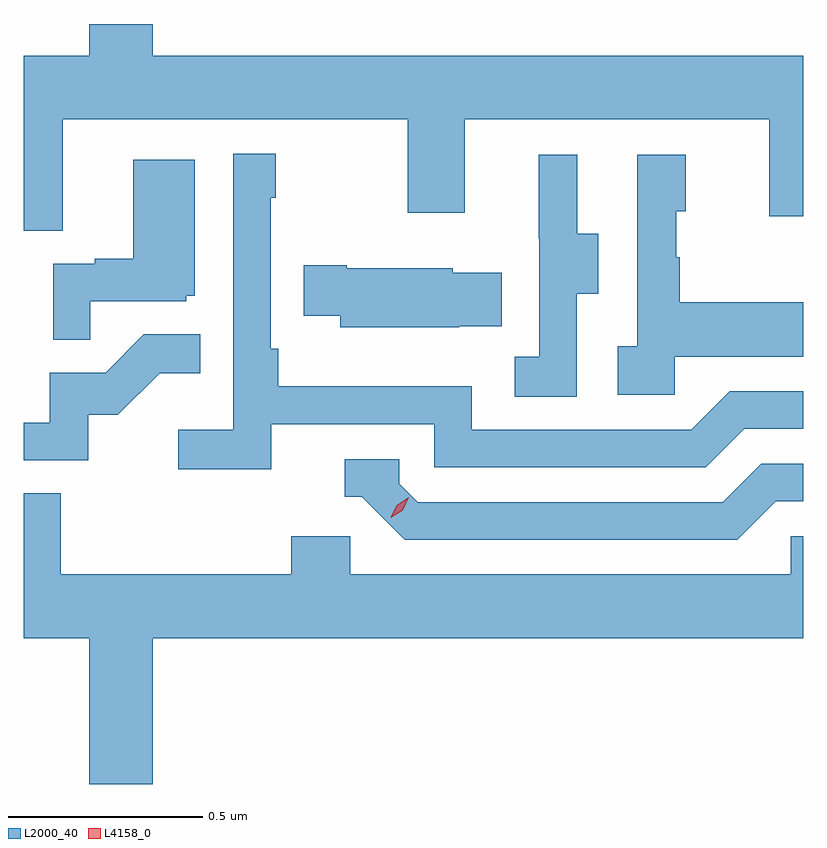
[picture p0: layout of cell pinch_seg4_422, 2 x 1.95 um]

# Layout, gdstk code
import gdstk
lib = gdstk.Library(unit=1e-6, precision=1e-09)
def P(c, l, *ps):  # polygons
    for p in ps: c.add(gdstk.Polygon(p, *l))
L2000_40 = (2000, 40)
L4158_0 = (4158, 0)

pinch_seg4_422 = lib.new_cell('pinch_seg4_422')
P(pinch_seg4_422, L2000_40, [(992.113,771.512),(992.998,771.512),(992.998,771.273),(993.145,771.273),(993.145,771.512),(993.926,771.512),(993.926,771.264),(994.013,771.264),(994.013,771.676),(992.344,771.676),(992.344,771.757),(992.18,771.757),(992.18,771.676),(992.013,771.676),(992.013,771.226),(992.113,771.226)],
  [(992.648,770.73),(993.066,770.73),(993.066,770.619),(993.763,770.619),(993.862,770.718),(994.013,770.718),(994.013,770.814),(993.825,770.814),(993.726,770.715),(993.162,770.715),(993.162,770.827),(992.666,770.827),(992.666,770.923),(992.646,770.923),(992.646,771.311),(992.659,771.311),(992.659,771.424),(992.55,771.424),(992.55,770.716),(992.409,770.716),(992.409,770.614),(992.648,770.614)],
  [(993.432,771.064),(993.487,771.064),(993.487,771.219),(993.433,771.219),(993.433,771.421),(993.335,771.421),(993.335,771.207),(993.336,771.207),(993.336,770.903),(993.273,770.903),(993.273,770.8),(993.432,770.8)],
  [(993.684,770.903),(994.013,770.903),(994.013,771.043),(993.697,771.043),(993.697,771.158),(993.687,771.158),(993.687,771.276),(993.712,771.276),(993.712,771.421),(993.588,771.421),(993.588,770.93),(993.537,770.93),(993.537,770.805),(993.684,770.805)],
  [(992.183,771.045),(992.43,771.045),(992.43,771.06),(992.452,771.06),(992.452,771.409),(992.294,771.409),(992.294,771.154),(992.195,771.154),(992.195,771.141),(992.088,771.141),(992.088,770.947),(992.183,770.947)],
  [(993.131,770.981),(993.239,770.981),(993.239,771.118),(993.114,771.118),(993.114,771.13),(992.842,771.13),(992.842,771.138),(992.731,771.138),(992.731,771.008),(992.825,771.008),(992.825,770.978),(993.131,770.978)],
  [(992.178,770.754),(992.254,770.754),(992.361,770.861),(992.465,770.861),(992.465,770.96),(992.321,770.96),(992.223,770.862),(992.079,770.862),(992.079,770.733),(992.013,770.733),(992.013,770.637),(992.178,770.637)],
  [(993.943,770.532),(994.013,770.532),(994.013,770.628),(993.906,770.628),(993.807,770.529),(993.024,770.529),(992.976,770.577),(992.976,770.64),(992.837,770.64),(992.837,770.544),(992.88,770.544),(992.991,770.433),(993.844,770.433)],
  [(992.344,770.18),(994.013,770.18),(994.013,770.442),(993.981,770.442),(993.981,770.344),(992.85,770.344),(992.85,770.442),(992.699,770.442),(992.699,770.344),(992.108,770.344),(992.108,770.552),(992.013,770.552),(992.013,770.18),(992.18,770.18),(992.18,769.806),(992.344,769.806)])
P(pinch_seg4_422, L4158_0, [(992.955,770.489),(992.955,770.49),(992.97,770.522),(993.001,770.542),(993.001,770.542),(993.001,770.542),(992.985,770.509),(992.955,770.489)])

lib.write_gds('pinch_seg4_422.gds')
